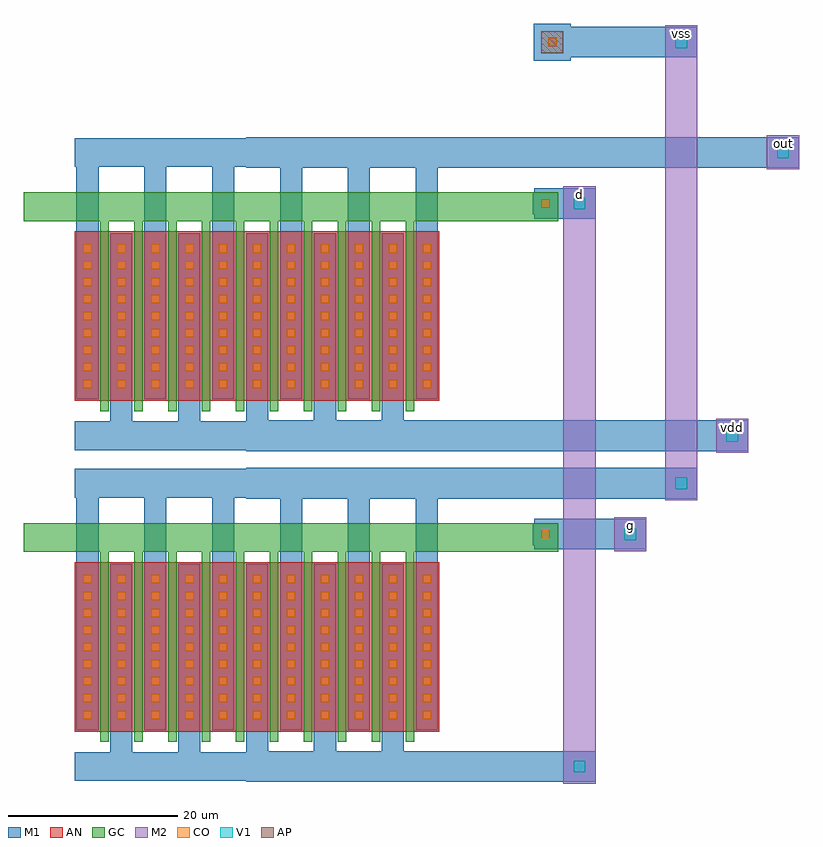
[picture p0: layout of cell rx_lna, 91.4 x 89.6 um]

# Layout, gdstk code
import gdstk
lib = gdstk.Library(unit=1e-6, precision=1e-09)
def R(c, l, rs):  # rectangles x0, y0, x1, y1
    for r in rs: c.add(gdstk.rectangle(r[:2], r[2:], *l))
def A(c, l, x, y, w, h, nx, ny, dx, dy):  # array of equal rectangles
    R(c, l, [(x+i*dx, y+j*dy, x+i*dx+w, y+j*dy+h) for i in range(nx) for j in range(ny)])
AP = (3, 1)
AN = (3, 2)
GC = (8, 1)
CO = (11, 0)
M1 = (13, 0)
V1 = (19, 0)
M2 = (20, 0)

rx_lna = lib.new_cell('rx_lna')
R(rx_lna, AP, [(58,80,60.6,82.6)])
R(rx_lna, AN, [(3,0,46,20), (3,39,46,59)])
A(rx_lna, GC, 6, -1.2, 1, 22.4, 10, 2, 4, 39)
R(rx_lna, GC, [(-3,21.2,60,24.6), (-3,60.2,60,63.6)])
A(rx_lna, CO, 4, 1.5, 1, 1, 11, 9, 4, 2)
A(rx_lna, CO, 4, 40.5, 1, 1, 11, 9, 4, 2)
R(rx_lna, CO, [(58,22.8,59,23.8), (58,61.8,59,62.8), (58.8,80.8,59.8,81.8)])
A(rx_lna, M1, 7.2, -5.8, 2.6, 25.6, 5, 2, 8, 39)
A(rx_lna, M1, 3.2, 0.2, 2.6, 28.3, 6, 2, 8, 39)
R(rx_lna, M1, [(23.2,-5.9,64.4,-2.3), (3,-5.8,46,-2.4), (57.2,21.5,70.4,25.1), (57,22,60,24.6), (23.2,27.5,76.4,31.1), (3,27.6,46,31), (23.2,33.1,82.4,36.7), (3,33.2,46,36.6), (57.2,60.5,64.4,64.1), (57,61,60,63.6), (23.2,66.5,88.4,70.1), (3,66.6,46,70), (57.1,79.1,61.5,83.5), (58,79.5,76.4,83.1)])
R(rx_lna, V1, [(61.8,-4.8,63.2,-3.4), (67.8,22.6,69.2,24), (73.8,28.6,75.2,30), (79.8,34.2,81.2,35.6), (61.8,61.6,63.2,63), (85.8,67.6,87.2,69), (73.8,80.6,75.2,82)])
R(rx_lna, M2, [(60.6,-6.1,64.4,64.3), (66.6,21.3,70.4,25.3), (72.6,27.3,76.4,83.3), (78.6,32.9,82.4,36.9), (84.6,66.3,88.4,70.3)])
rx_lna.add(gdstk.Label('d', (62.5,63.3), layer=49, texttype=0))
rx_lna.add(gdstk.Label('g', (68.5,24.3), layer=49, texttype=0))
rx_lna.add(gdstk.Label('out', (86.5,69.3), layer=49, texttype=0))
rx_lna.add(gdstk.Label('vdd', (80.5,35.9), layer=49, texttype=0))
rx_lna.add(gdstk.Label('vss', (74.5,82.3), layer=49, texttype=0))

lib.write_gds('rx_lna.gds')
